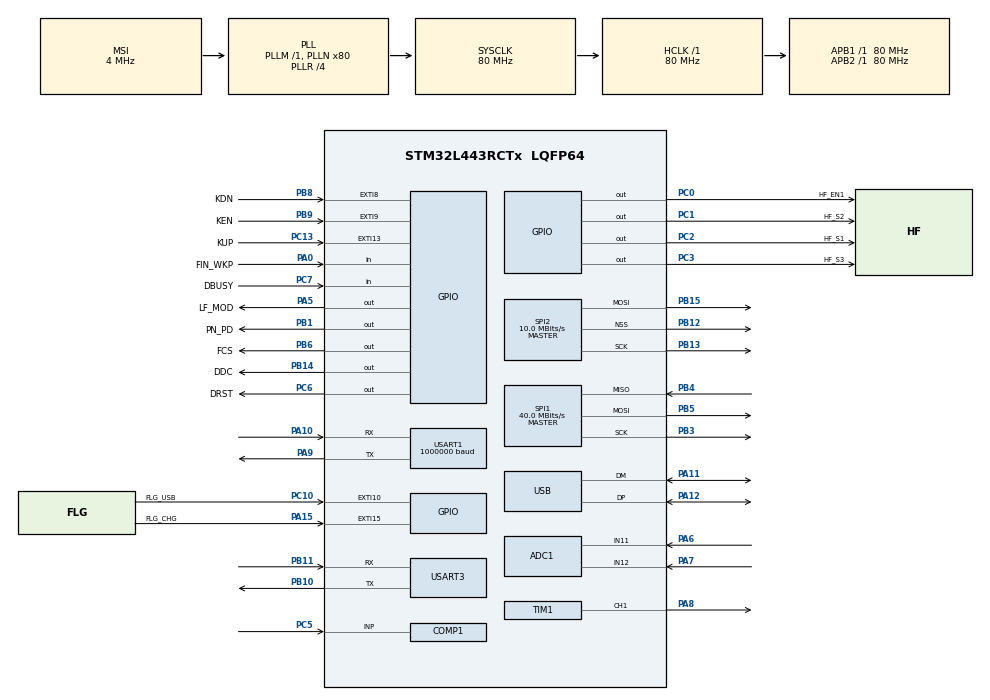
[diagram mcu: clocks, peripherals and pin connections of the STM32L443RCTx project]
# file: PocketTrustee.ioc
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ADC1.Channel-0\#ChannelRegularConversion=ADC_CHANNEL_11
ADC1.Channel-1\#ChannelRegularConversion=ADC_CHANNEL_12
ADC1.Channel-2\#ChannelRegularConversion=ADC_CHANNEL_VREFINT
ADC1.ContinuousConvMode=DISABLE
ADC1.DMAContinuousRequests=DISABLE
ADC1.EOCSelection=ADC_EOC_SEQ_CONV
ADC1.LowPowerAutoWait=DISABLE
ADC1.NbrOfConversion=3
ADC1.NbrOfConversionFlag=1
ADC1.OffsetNumber-0\#ChannelRegularConversion=ADC_OFFSET_NONE
ADC1.OffsetNumber-1\#ChannelRegularConversion=ADC_OFFSET_NONE
ADC1.OffsetNumber-2\#ChannelRegularConversion=ADC_OFFSET_NONE
ADC1.Overrun=ADC_OVR_DATA_OVERWRITTEN
ADC1.Rank-0\#ChannelRegularConversion=1
ADC1.Rank-1\#ChannelRegularConversion=2
ADC1.Rank-2\#ChannelRegularConversion=3
ADC1.SamplingTime-0\#ChannelRegularConversion=ADC_SAMPLETIME_640CYCLES_5
ADC1.SamplingTime-1\#ChannelRegularConversion=ADC_SAMPLETIME_24CYCLES_5
ADC1.SamplingTime-2\#ChannelRegularConversion=ADC_SAMPLETIME_247CYCLES_5
ADC1.master=1
COMP1.Hysteresis=COMP_HYSTERESIS_HIGH
COMP1.Mode=COMP_POWERMODE_ULTRALOWPOWER
COMP1.TriggerMode=COMP_TRIGGERMODE_IT_RISING_FALLING
Dma.ADC1.0.Direction=DMA_PERIPH_TO_MEMORY
Dma.ADC1.0.Instance=DMA1_Channel1
Dma.ADC1.0.MemDataAlignment=DMA_MDATAALIGN_HALFWORD
Dma.ADC1.0.MemInc=DMA_MINC_ENABLE
Dma.ADC1.0.Mode=DMA_NORMAL
Dma.ADC1.0.PeriphDataAlignment=DMA_PDATAALIGN_HALFWORD
Dma.ADC1.0.PeriphInc=DMA_PINC_DISABLE
Dma.ADC1.0.Priority=DMA_PRIORITY_LOW
Dma.Request0=ADC1
Dma.Request1=SPI2_TX
Dma.Request2=SPI1_TX
Dma.Request3=SPI1_RX
Dma.Request4=USART3_RX
Dma.Request5=USART3_TX
Dma.SPI1_RX.3.Direction=DMA_PERIPH_TO_MEMORY
Dma.SPI1_RX.3.Instance=DMA2_Channel3
Dma.SPI1_RX.3.MemDataAlignment=DMA_MDATAALIGN_BYTE
Dma.SPI1_RX.3.MemInc=DMA_MINC_ENABLE
Dma.SPI1_RX.3.Mode=DMA_NORMAL
Dma.SPI1_RX.3.PeriphDataAlignment=DMA_PDATAALIGN_BYTE
Dma.SPI1_RX.3.PeriphInc=DMA_PINC_DISABLE
Dma.SPI1_RX.3.Priority=DMA_PRIORITY_MEDIUM
Dma.SPI1_TX.2.Direction=DMA_MEMORY_TO_PERIPH
Dma.SPI1_TX.2.Instance=DMA2_Channel4
Dma.SPI1_TX.2.MemDataAlignment=DMA_MDATAALIGN_BYTE
Dma.SPI1_TX.2.MemInc=DMA_MINC_ENABLE
Dma.SPI1_TX.2.Mode=DMA_NORMAL
Dma.SPI1_TX.2.PeriphDataAlignment=DMA_PDATAALIGN_BYTE
Dma.SPI1_TX.2.PeriphInc=DMA_PINC_DISABLE
Dma.SPI1_TX.2.Priority=DMA_PRIORITY_MEDIUM
Dma.SPI2_TX.1.Direction=DMA_MEMORY_TO_PERIPH
Dma.SPI2_TX.1.Instance=DMA1_Channel5
Dma.SPI2_TX.1.MemDataAlignment=DMA_MDATAALIGN_BYTE
Dma.SPI2_TX.1.MemInc=DMA_MINC_ENABLE
Dma.SPI2_TX.1.Mode=DMA_NORMAL
Dma.SPI2_TX.1.PeriphDataAlignment=DMA_PDATAALIGN_BYTE
Dma.SPI2_TX.1.PeriphInc=DMA_PINC_DISABLE
Dma.SPI2_TX.1.Priority=DMA_PRIORITY_MEDIUM
Dma.USART3_RX.4.Direction=DMA_PERIPH_TO_MEMORY
Dma.USART3_RX.4.Instance=DMA1_Channel3
Dma.USART3_RX.4.MemDataAlignment=DMA_MDATAALIGN_BYTE
Dma.USART3_RX.4.MemInc=DMA_MINC_ENABLE
Dma.USART3_RX.4.Mode=DMA_NORMAL
Dma.USART3_RX.4.PeriphDataAlignment=DMA_PDATAALIGN_BYTE
Dma.USART3_RX.4.PeriphInc=DMA_PINC_DISABLE
Dma.USART3_RX.4.Priority=DMA_PRIORITY_HIGH
Dma.USART3_TX.5.Direction=DMA_MEMORY_TO_PERIPH
Dma.USART3_TX.5.Instance=DMA1_Channel2
Dma.USART3_TX.5.MemDataAlignment=DMA_MDATAALIGN_BYTE
Dma.USART3_TX.5.MemInc=DMA_MINC_ENABLE
Dma.USART3_TX.5.Mode=DMA_NORMAL
Dma.USART3_TX.5.PeriphDataAlignment=DMA_PDATAALIGN_BYTE
Dma.USART3_TX.5.PeriphInc=DMA_PINC_DISABLE
Dma.USART3_TX.5.Priority=DMA_PRIORITY_HIGH
FREERTOS.HEAP_NUMBER=5
FREERTOS.INCLUDE_eTaskGetState=0
FREERTOS.INCLUDE_uxTaskPriorityGet=0
FREERTOS.INCLUDE_vTaskPrioritySet=0
FREERTOS.INCLUDE_xTaskGetCurrentTaskHandle=1
FREERTOS.INCLUDE_xTaskGetSchedulerState=1
FREERTOS.INCLUDE_xTaskResumeFromISR=0
FREERTOS.INCLUDE_xTimerPendFunctionCall=0
FREERTOS.MEMORY_ALLOCATION=2
FREERTOS.Tasks01=defaultTask,0,1024,StartDefaultTask,As weak,NULL,Static,defaultTaskBuffer,defaultTaskControlBlock
FREERTOS.configCHECK_FOR_STACK_OVERFLOW=2
FREERTOS.configENABLE_BACKWARD_COMPATIBILITY=0
FREERTOS.configENABLE_FPU=1
FREERTOS.configTOTAL_HEAP_SIZE=40960
FREERTOS.configUSE_APPLICATION_TASK_TAG=1
FREERTOS.configUSE_COUNTING_SEMAPHORES=1
FREERTOS.configUSE_MALLOC_FAILED_HOOK=1
FREERTOS.configUSE_MUTEXES=1
FREERTOS.configUSE_NEWLIB_REENTRANT=0
FREERTOS.configUSE_POSIX_ERRNO=1
FREERTOS.configUSE_RECURSIVE_MUTEXES=1
FREERTOS.configUSE_TICKLESS_IDLE=2
FREERTOS.configUSE_TIMERS=0
LPTIM1.ClockPrescaler=LPTIM_PRESCALER_DIV128
LPTIM2.ClockPrescaler=LPTIM_PRESCALER_DIV128
Mcu.Family=STM32L4
Mcu.Name=STM32L443RCTx
Mcu.Package=LQFP64
NVIC.COMP_IRQn=true\:8\:0\:true\:false\:true\:true\:false\:true\:true
NVIC.DMA1_Channel1_IRQn=true\:5\:0\:false\:false\:true\:true\:false\:true\:true
NVIC.DMA1_Channel2_IRQn=true\:5\:0\:false\:false\:true\:true\:false\:true\:true
NVIC.DMA1_Channel3_IRQn=true\:5\:0\:false\:false\:true\:true\:false\:true\:true
NVIC.DMA1_Channel5_IRQn=true\:5\:0\:false\:false\:true\:true\:false\:true\:true
NVIC.DMA2_Channel3_IRQn=true\:5\:0\:false\:false\:true\:true\:false\:true\:true
NVIC.DMA2_Channel4_IRQn=true\:5\:0\:false\:false\:true\:true\:false\:true\:true
NVIC.EXTI15_10_IRQn=true\:11\:0\:true\:false\:true\:true\:true\:true\:true
NVIC.EXTI9_5_IRQn=true\:12\:0\:true\:false\:true\:true\:true\:true\:true
NVIC.LPTIM1_IRQn=true\:7\:0\:true\:false\:true\:true\:true\:true\:true
NVIC.LPTIM2_IRQn=true\:9\:0\:true\:false\:true\:true\:true\:true\:true
NVIC.PriorityGroup=NVIC_PRIORITYGROUP_4
NVIC.RTC_WKUP_IRQn=true\:5\:0\:false\:false\:true\:true\:true\:true\:true
NVIC.USART3_IRQn=true\:10\:0\:true\:false\:true\:true\:true\:true\:true
NVIC.USB_IRQn=true\:6\:0\:true\:false\:true\:true\:true\:true\:true
PA0.GPIO_Label=FIN_WKP
PA0.GPIO_PuPd=GPIO_PULLDOWN
PA0.Signal=GPIO_Input
PA10.Mode=Asynchronous
PA10.Signal=USART1_RX
PA11.Mode=Device
PA11.Signal=USB_DM
PA12.Mode=Device
PA12.Signal=USB_DP
PA13\ (JTMS-SWDIO).Mode=Serial_Wire
PA13\ (JTMS-SWDIO).Signal=SYS_JTMS-SWDIO
PA14\ (JTCK-SWCLK).Mode=Serial_Wire
PA14\ (JTCK-SWCLK).Signal=SYS_JTCK-SWCLK
PA15\ (JTDI).GPIO_Label=FLG_CHG
PA15\ (JTDI).GPIO_ModeDefaultEXTI=GPIO_MODE_IT_RISING_FALLING
PA15\ (JTDI).GPIO_PuPd=GPIO_PULLUP
PA15\ (JTDI).Signal=GPXTI15
PA5.GPIO_Label=LF_MOD
PA5.GPIO_Speed=GPIO_SPEED_FREQ_MEDIUM
PA5.Signal=GPIO_Output
PA6.Signal=ADCx_IN11
PA7.Signal=ADCx_IN12
PA8.Signal=S_TIM1_CH1
PA9.Mode=Asynchronous
PA9.Signal=USART1_TX
PB1.GPIO_Label=PN_PD
PB1.Signal=GPIO_Output
PB10.Mode=Asynchronous
PB10.Signal=USART3_TX
PB11.Mode=Asynchronous
PB11.Signal=USART3_RX
PB12.Mode=NSS_Signal_Hard_Output
PB12.Signal=SPI2_NSS
PB13.Mode=TX_Only_Simplex_Unidirect_Master
PB13.Signal=SPI2_SCK
PB14.GPIO_Label=DDC
PB14.Signal=GPIO_Output
PB15.Mode=TX_Only_Simplex_Unidirect_Master
PB15.Signal=SPI2_MOSI
PB3\ (JTDO-TRACESWO).Mode=Full_Duplex_Master
PB3\ (JTDO-TRACESWO).Signal=SPI1_SCK
PB4\ (NJTRST).Mode=Full_Duplex_Master
PB4\ (NJTRST).Signal=SPI1_MISO
PB5.Mode=Full_Duplex_Master
PB5.Signal=SPI1_MOSI
PB6.GPIO_Label=FCS
PB6.GPIO_Speed=GPIO_SPEED_FREQ_VERY_HIGH
PB6.PinState=GPIO_PIN_SET
PB6.Signal=GPIO_Output
PB8.GPIO_Label=KDN
PB8.GPIO_ModeDefaultEXTI=GPIO_MODE_IT_FALLING
PB8.Signal=GPXTI8
PB9.GPIO_Label=KEN
PB9.GPIO_ModeDefaultEXTI=GPIO_MODE_IT_FALLING
PB9.Signal=GPXTI9
PC0.GPIO_Label=HF_EN1
PC0.PinState=GPIO_PIN_SET
PC0.Signal=GPIO_Output
PC1.GPIO_Label=HF_S2
PC1.Signal=GPIO_Output
PC10.GPIO_Label=FLG_USB
PC10.GPIO_ModeDefaultEXTI=GPIO_MODE_IT_RISING_FALLING
PC10.GPIO_PuPd=GPIO_PULLDOWN
PC10.Signal=GPXTI10
PC13.GPIO_Label=KUP
PC13.GPIO_ModeDefaultEXTI=GPIO_MODE_IT_FALLING
PC13.Signal=GPXTI13
PC14-OSC32_IN\ (PC14).Mode=LSE-External-Oscillator
PC14-OSC32_IN\ (PC14).Signal=RCC_OSC32_IN
PC15-OSC32_OUT\ (PC15).Mode=LSE-External-Oscillator
PC15-OSC32_OUT\ (PC15).Signal=RCC_OSC32_OUT
PC2.GPIO_Label=HF_S1
PC2.Signal=GPIO_Output
PC3.GPIO_Label=HF_S3
PC3.Signal=GPIO_Output
PC5.Mode=INP
PC5.Signal=COMP1_INP
PC6.GPIO_Label=DRST
PC6.Signal=GPIO_Output
PC7.GPIO_Label=DBUSY
PC7.Signal=GPIO_Input
ProjectManager.HeapSize=0x0
ProjectManager.StackSize=0x400
ProjectManager.TargetToolchain=CMake
RCC.ADCCLockSelection=RCC_ADCCLKSOURCE_SYSCLK
RCC.ADCFreq_Value=80000000
RCC.AHBFreq_Value=80000000
RCC.APB1Freq_Value=80000000
RCC.APB1TimFreq_Value=80000000
RCC.APB2Freq_Value=80000000
RCC.APB2TimFreq_Value=80000000
RCC.CK48CLockSelection=RCC_USBCLKSOURCE_HSI48
RCC.CortexFreq_Value=10000000
RCC.Cortex_Div=SYSTICK_CLKSOURCE_HCLK_DIV8
RCC.HCLKFreq_Value=80000000
RCC.HSE_VALUE=8000000
RCC.HSI48_VALUE=48000000
RCC.HSI_VALUE=16000000
RCC.LPTIM1CLockSelection=RCC_LPTIM1CLKSOURCE_LSE
RCC.MSI_VALUE=4000000
RCC.PLLN=80
RCC.PLLQ=RCC_PLLQ_DIV8
RCC.PLLR=RCC_PLLR_DIV4
RCC.PLLSAI1Q=RCC_PLLQ_DIV8
RCC.PLLSAI1R=RCC_PLLR_DIV8
RCC.RTCClockSelection=RCC_RTCCLKSOURCE_LSE
RCC.SYSCLKFreq_VALUE=80000000
RCC.SYSCLKSource=RCC_SYSCLKSOURCE_PLLCLK
RCC.USBFreq_Value=48000000
RCC.VCOOutputFreq_Value=320000000
RTC.WakeUpClock-WakeUp=RTC_WAKEUPCLOCK_CK_SPRE_17BITS
SH.ADCx_IN11.0=ADC1_IN11,IN11-Single-Ended
SH.ADCx_IN12.0=ADC1_IN12,IN12-Single-Ended
SH.S_TIM1_CH1.0=TIM1_CH1,Output Compare1 CH1
SPI1.CalculateBaudRate=40.0 MBits/s
SPI1.DataSize=SPI_DATASIZE_8BIT
SPI1.Direction=SPI_DIRECTION_2LINES
SPI1.Mode=SPI_MODE_MASTER
SPI1.VirtualType=VM_MASTER
SPI2.BaudRatePrescaler=SPI_BAUDRATEPRESCALER_8
SPI2.CalculateBaudRate=10.0 MBits/s
SPI2.DataSize=SPI_DATASIZE_8BIT
SPI2.Direction=SPI_DIRECTION_2LINES
SPI2.Mode=SPI_MODE_MASTER
SPI2.VirtualNSS=VM_NSSHARD
SPI2.VirtualType=VM_MASTER
TIM1.AutoReloadPreload=TIM_AUTORELOAD_PRELOAD_DISABLE
TIM1.Channel-Output\ Compare1\ CH1=TIM_CHANNEL_1
TIM1.OCMode_1=TIM_OCMODE_TOGGLE
TIM1.Period=15
TIM1.Prescaler=19
USART1.BaudRate=1000000
USART1.Mode=MODE_TX
USART1.VirtualMode-Asynchronous=VM_ASYNC
USART3.VirtualMode-Asynchronous=VM_ASYNC
VP_ADC1_Vref_Input.Mode=IN-Vrefint
VP_COMP1_VS_DACOUT1.Mode=INM_DACOUT1
VP_CRC_VS_CRC.Mode=CRC_Activate
VP_DAC1_VS_DACI1.Mode=DAC_OUT1_Int
VP_FREERTOS_VS_CMSIS_V1.Mode=CMSIS_V1
VP_LPTIM1_VS_LPTIM_counterModeInternalClock.Mode=Counts__internal_clock_event_00
VP_LPTIM2_VS_LPTIM_counterModeInternalClock.Mode=Counts__internal_clock_event_00
VP_RNG_VS_RNG.Mode=RNG_Activate
VP_RTC_VS_RTC_Activate.Mode=RTC_Enabled
VP_RTC_VS_RTC_WakeUp_intern.Mode=WakeUp
VP_SYS_VS_LPOM.Mode=PowerOptimisation
VP_TIM1_VS_ClockSourceINT.Mode=Internal
board=custom

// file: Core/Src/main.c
/* USER CODE BEGIN Header */
/**
  ******************************************************************************
  * @file           : main.c
  * @brief          : Main program body
  ******************************************************************************
  * @attention
  *
  * Copyright (c) 2025 STMicroelectronics.
  * All rights reserved.
  *
  * This software is licensed under terms that can be found in the LICENSE file
  * in the root directory of this software component.
  * If no LICENSE file comes with this software, it is provided AS-IS.
  *
  ******************************************************************************
  */
/* USER CODE END Header */
#include "main.h"
#include "cmsis_os.h"
#include "adc.h"
#include "comp.h"
#include "crc.h"
#include "dac.h"
#include "dma.h"
#include "lptim.h"
#include "rng.h"
#include "rtc.h"
#include "spi.h"
#include "tim.h"
#include "usart.h"
#include "usb.h"
#include "gpio.h"

void SystemClock_Config(void);
void MX_FREERTOS_Init(void);

/* USER CODE BEGIN 0 */
void MPU_Config();
/* USER CODE END 0 */

int main(void)
{

  /* MCU Configuration--------------------------------------------------------*/

  /* Reset of all peripherals, Initializes the Flash interface and the Systick. */
  HAL_Init();

  /* Configure the system clock */
  SystemClock_Config();

  /* Initialize all configured peripherals */
  MX_GPIO_Init();
  MX_DMA_Init();
  MX_ADC1_Init();
  MX_COMP1_Init();
  MX_DAC1_Init();
  MX_RNG_Init();
  MX_RTC_Init();
  MX_USART1_UART_Init();
  MX_USB_PCD_Init();
  MX_USART3_UART_Init();
  MX_SPI1_Init();
  MX_SPI2_Init();
  MX_TIM1_Init();
  MX_LPTIM2_Init();
  MX_LPTIM1_Init();
  MX_CRC_Init();
  /* USER CODE BEGIN 2 */

  __attribute__((section("._user_heap2_region"))) static uint8_t _userHeapRegion1[ SRAM2_SIZE ];
  static uint8_t _userHeapRegion2[ 0x5000 ];
  static const HeapRegion_t xHeapRegions[] =
  {
    {_userHeapRegion1, SRAM2_SIZE},
    {_userHeapRegion2, sizeof(_userHeapRegion2)},
    { NULL, 0 }
  };
  vPortDefineHeapRegions(xHeapRegions);
  // MPU_Config();

  /* USER CODE END 2 */

  /* Call init function for freertos objects (in cmsis_os2.c) */
  MX_FREERTOS_Init();

  /* Start scheduler */
  osKernelStart();

  /* We should never get here as control is now taken by the scheduler */

  /* Infinite loop */
  while (1)
  {

  }
}

void SystemClock_Config(void)
{
  RCC_OscInitTypeDef RCC_OscInitStruct = {0};
  RCC_ClkInitTypeDef RCC_ClkInitStruct = {0};

  /** Configure the main internal regulator output voltage
  */
  if (HAL_PWREx_ControlVoltageScaling(PWR_REGULATOR_VOLTAGE_SCALE1) != HAL_OK)
  {
    Error_Handler();
  }

  /** Configure LSE Drive Capability
  */
  HAL_PWR_EnableBkUpAccess();
  __HAL_RCC_LSEDRIVE_CONFIG(RCC_LSEDRIVE_LOW);

  /** Initializes the RCC Oscillators according to the specified parameters
  * in the RCC_OscInitTypeDef structure.
  */
  RCC_OscInitStruct.OscillatorType = RCC_OSCILLATORTYPE_HSI48|RCC_OSCILLATORTYPE_LSE
                              |RCC_OSCILLATORTYPE_MSI;
  RCC_OscInitStruct.LSEState = RCC_LSE_ON;
  RCC_OscInitStruct.HSI48State = RCC_HSI48_ON;
  RCC_OscInitStruct.MSIState = RCC_MSI_ON;
  RCC_OscInitStruct.MSICalibrationValue = 0;
  RCC_OscInitStruct.MSIClockRange = RCC_MSIRANGE_6;
  RCC_OscInitStruct.PLL.PLLState = RCC_PLL_ON;
  RCC_OscInitStruct.PLL.PLLSource = RCC_PLLSOURCE_MSI;
  RCC_OscInitStruct.PLL.PLLM = 1;
  RCC_OscInitStruct.PLL.PLLN = 80;
  RCC_OscInitStruct.PLL.PLLP = RCC_PLLP_DIV7;
  RCC_OscInitStruct.PLL.PLLQ = RCC_PLLQ_DIV8;
  RCC_OscInitStruct.PLL.PLLR = RCC_PLLR_DIV4;
  if (HAL_RCC_OscConfig(&RCC_OscInitStruct) != HAL_OK)
  {
    Error_Handler();
  }

  /** Initializes the CPU, AHB and APB buses clocks
  */
  RCC_ClkInitStruct.ClockType = RCC_CLOCKTYPE_HCLK|RCC_CLOCKTYPE_SYSCLK
                              |RCC_CLOCKTYPE_PCLK1|RCC_CLOCKTYPE_PCLK2;
  RCC_ClkInitStruct.SYSCLKSource = RCC_SYSCLKSOURCE_PLLCLK;
  RCC_ClkInitStruct.AHBCLKDivider = RCC_SYSCLK_DIV1;
  RCC_ClkInitStruct.APB1CLKDivider = RCC_HCLK_DIV1;
  RCC_ClkInitStruct.APB2CLKDivider = RCC_HCLK_DIV1;

  if (HAL_RCC_ClockConfig(&RCC_ClkInitStruct, FLASH_LATENCY_4) != HAL_OK)
  {
    Error_Handler();
  }

  /** Enable MSI Auto calibration
  */
  HAL_RCCEx_EnableMSIPLLMode();
}

/* USER CODE BEGIN 4 */
void MPU_Config()
{
  if (MPU->TYPE == 0) return;
  int nRegion = MPU->TYPE >> 8 & 0xFF;
  // Disable executable for SRAM1 and SRAM2
  MPU_Region_InitTypeDef configs[] = {
      {
          .Enable = MPU_REGION_ENABLE,
          .BaseAddress = SRAM1_BASE,
          .Size = MPU_REGION_SIZE_64KB,
          .SubRegionDisable = 0,
          .TypeExtField = MPU_TEX_LEVEL0,
          .AccessPermission = MPU_REGION_FULL_ACCESS,
          .DisableExec = MPU_INSTRUCTION_ACCESS_DISABLE,
          .IsShareable = MPU_ACCESS_SHAREABLE,
          .IsCacheable = MPU_ACCESS_CACHEABLE,
          .IsBufferable = MPU_ACCESS_NOT_BUFFERABLE,
      },
    {
          .Enable = MPU_REGION_ENABLE,
          .BaseAddress = SRAM2_BASE,
          .Size = MPU_REGION_SIZE_16KB,
          .SubRegionDisable = 0,
          .TypeExtField = MPU_TEX_LEVEL0,
          .AccessPermission = MPU_REGION_FULL_ACCESS,
          .DisableExec = MPU_INSTRUCTION_ACCESS_DISABLE,
          .IsShareable = MPU_ACCESS_SHAREABLE,
          .IsCacheable = MPU_ACCESS_CACHEABLE,
          .IsBufferable = MPU_ACCESS_NOT_BUFFERABLE,
        },
      {
          .Enable = MPU_REGION_ENABLE,
          .BaseAddress = FLASH_BASE,
          .Size = MPU_REGION_SIZE_256KB,
          .SubRegionDisable = 0,
          .TypeExtField = MPU_TEX_LEVEL0,
          .AccessPermission = MPU_REGION_FULL_ACCESS,
          .DisableExec = MPU_INSTRUCTION_ACCESS_ENABLE,
          .IsShareable = MPU_ACCESS_NOT_SHAREABLE,
          .IsCacheable = MPU_ACCESS_CACHEABLE,
          .IsBufferable = MPU_ACCESS_NOT_BUFFERABLE,
      },
      {
          .Enable = MPU_REGION_ENABLE,
          .BaseAddress = PERIPH_BASE,
          .Size = MPU_REGION_SIZE_512MB,
          .SubRegionDisable = 0,
          .TypeExtField = MPU_TEX_LEVEL0,
          .AccessPermission = MPU_REGION_FULL_ACCESS,
          .DisableExec = MPU_INSTRUCTION_ACCESS_DISABLE,
          .IsShareable = MPU_ACCESS_SHAREABLE,
          .IsCacheable = MPU_ACCESS_NOT_CACHEABLE,
          .IsBufferable = MPU_ACCESS_BUFFERABLE,
      }
  };
  HAL_MPU_Disable();
  for (int i = 0; i < nRegion; i++) {
    if (i < sizeof(configs) / sizeof(configs[0])) {
      configs[i].Number = i;
      HAL_MPU_ConfigRegion(configs + i);
    } else {
      MPU->RNR = i;
      MPU->RBAR = 0;
      MPU->RASR = 0;
    }
  }
  SCB->SHCSR |= SCB_SHCSR_MEMFAULTENA_Msk;
  SCB->SHCSR |= SCB_SHCSR_BUSFAULTENA_Msk;
  NVIC_SetPriority(MemoryManagement_IRQn, -1);
  NVIC_SetPriority(BusFault_IRQn, -1);

  HAL_MPU_Enable(0);
}
/* USER CODE END 4 */

void Error_Handler(void)
{
  __disable_irq();
  while (1)
  {
  }
}

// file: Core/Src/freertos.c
/* USER CODE BEGIN Header */
/**
  ******************************************************************************
  * File Name          : freertos.c
  * Description        : Code for freertos applications
  ******************************************************************************
  * @attention
  *
  * Copyright (c) 2025 STMicroelectronics.
  * All rights reserved.
  *
  * This software is licensed under terms that can be found in the LICENSE file
  * in the root directory of this software component.
  * If no LICENSE file comes with this software, it is provided AS-IS.
  *
  ******************************************************************************
  */
/* USER CODE END Header */

#include "FreeRTOS.h"
#include "task.h"
#include "main.h"
#include "cmsis_os.h"

osThreadId defaultTaskHandle;
uint32_t defaultTaskBuffer[ 1024 ];
osStaticThreadDef_t defaultTaskControlBlock;

void StartDefaultTask(void const * argument);

void MX_FREERTOS_Init(void); /* (MISRA C 2004 rule 8.1) */

/* GetIdleTaskMemory prototype (linked to static allocation support) */
void vApplicationGetIdleTaskMemory( StaticTask_t **ppxIdleTaskTCBBuffer, StackType_t **ppxIdleTaskStackBuffer, uint32_t *pulIdleTaskStackSize );

/* Hook prototypes */
void vApplicationStackOverflowHook(TaskHandle_t xTask, signed char *pcTaskName);
void vApplicationMallocFailedHook(void);

/* USER CODE BEGIN 4 */
__weak void vApplicationStackOverflowHook(TaskHandle_t xTask, signed char *pcTaskName)
{
   /* Run time stack overflow checking is performed if
   configCHECK_FOR_STACK_OVERFLOW is defined to 1 or 2. This hook function is
   called if a stack overflow is detected. */
}
/* USER CODE END 4 */

/* USER CODE BEGIN 5 */
__weak void vApplicationMallocFailedHook(void)
{
   /* vApplicationMallocFailedHook() will only be called if
   configUSE_MALLOC_FAILED_HOOK is set to 1 in FreeRTOSConfig.h. It is a hook
   function that will get called if a call to pvPortMalloc() fails.
   pvPortMalloc() is called internally by the kernel whenever a task, queue,
   timer or semaphore is created. It is also called by various parts of the
   demo application. If heap_1.c or heap_2.c are used, then the size of the
   heap available to pvPortMalloc() is defined by configTOTAL_HEAP_SIZE in
   FreeRTOSConfig.h, and the xPortGetFreeHeapSize() API function can be used
   to query the size of free heap space that remains (although it does not
   provide information on how the remaining heap might be fragmented). */
}
/* USER CODE END 5 */

/* USER CODE BEGIN VPORT_SUPPORT_TICKS_AND_SLEEP */
__weak void vPortSuppressTicksAndSleep( TickType_t xExpectedIdleTime )
{
  // Generated when configUSE_TICKLESS_IDLE == 2.
  // Function called in tasks.c (in portTASK_FUNCTION).
  // TO BE COMPLETED or TO BE REPLACED by a user one, overriding that weak one.
}
/* USER CODE END VPORT_SUPPORT_TICKS_AND_SLEEP */

/* USER CODE BEGIN GET_IDLE_TASK_MEMORY */
static StaticTask_t xIdleTaskTCBBuffer;
static StackType_t xIdleStack[configMINIMAL_STACK_SIZE];

void vApplicationGetIdleTaskMemory( StaticTask_t **ppxIdleTaskTCBBuffer, StackType_t **ppxIdleTaskStackBuffer, uint32_t *pulIdleTaskStackSize )
{
  *ppxIdleTaskTCBBuffer = &xIdleTaskTCBBuffer;
  *ppxIdleTaskStackBuffer = &xIdleStack[0];
  *pulIdleTaskStackSize = configMINIMAL_STACK_SIZE;
  /* place for user code */
}
/* USER CODE END GET_IDLE_TASK_MEMORY */

void MX_FREERTOS_Init(void) {

  /* Create the thread(s) */
  /* definition and creation of defaultTask */
  osThreadStaticDef(defaultTask, StartDefaultTask, osPriorityNormal, 0, 1024, defaultTaskBuffer, &defaultTaskControlBlock);
  defaultTaskHandle = osThreadCreate(osThread(defaultTask), NULL);

}

__weak void StartDefaultTask(void const * argument)
{
  for(;;)
  {
    osDelay(1);
  }
}
